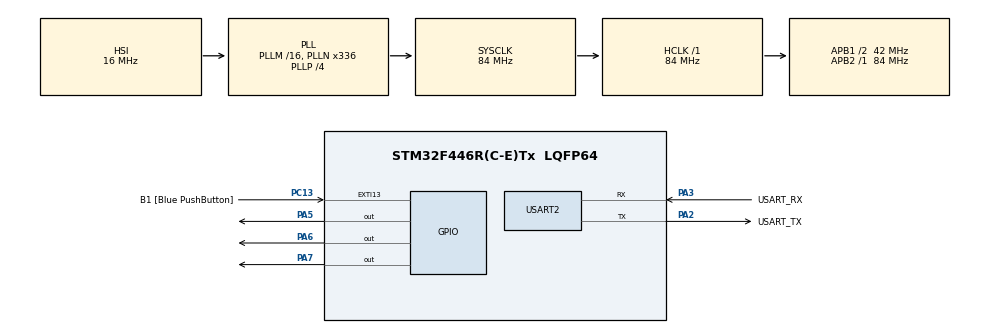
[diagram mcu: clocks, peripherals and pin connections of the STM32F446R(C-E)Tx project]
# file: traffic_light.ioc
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Mcu.Family=STM32F4
Mcu.Name=STM32F446R(C-E)Tx
Mcu.Package=LQFP64
NVIC.EXTI15_10_IRQn=true\:0\:0\:false\:false\:true\:true\:true\:true
NVIC.PriorityGroup=NVIC_PRIORITYGROUP_0
PA13.GPIO_Label=TMS
PA13.Mode=Serial_Wire
PA13.Signal=SYS_JTMS-SWDIO
PA14.GPIO_Label=TCK
PA14.Mode=Serial_Wire
PA14.Signal=SYS_JTCK-SWCLK
PA2.GPIO_Label=USART_TX
PA2.Mode=Asynchronous
PA2.Signal=USART2_TX
PA3.GPIO_Label=USART_RX
PA3.Mode=Asynchronous
PA3.Signal=USART2_RX
PA5.Signal=GPIO_Output
PA6.Signal=GPIO_Output
PA7.Signal=GPIO_Output
PB3.GPIO_Label=SWO
PB3.Signal=SYS_JTDO-SWO
PC13.GPIO_Label=B1 [Blue PushButton]
PC13.GPIO_ModeDefaultEXTI=GPIO_MODE_IT_FALLING
PC13.Signal=GPXTI13
PC14-OSC32_IN.Mode=LSE-External-Oscillator
PC14-OSC32_IN.Signal=RCC_OSC32_IN
PC15-OSC32_OUT.Mode=LSE-External-Oscillator
PC15-OSC32_OUT.Signal=RCC_OSC32_OUT
PH0-OSC_IN.Mode=HSE-External-Oscillator
PH0-OSC_IN.Signal=RCC_OSC_IN
PH1-OSC_OUT.Mode=HSE-External-Oscillator
PH1-OSC_OUT.Signal=RCC_OSC_OUT
ProjectManager.HeapSize=0x200
ProjectManager.StackSize=0x400
ProjectManager.TargetToolchain=STM32CubeIDE
RCC.48MHZClocksFreq_Value=84000000
RCC.AHBFreq_Value=84000000
RCC.APB1CLKDivider=RCC_HCLK_DIV2
RCC.APB1Freq_Value=42000000
RCC.APB1TimFreq_Value=84000000
RCC.APB2Freq_Value=84000000
RCC.APB2TimFreq_Value=84000000
RCC.CortexFreq_Value=84000000
RCC.FLatency-AdvancedSettings=FLASH_LATENCY_2
RCC.HCLKFreq_Value=84000000
RCC.HSE_VALUE=8000000
RCC.HSI_VALUE=16000000
RCC.PLLN=336
RCC.PLLP=RCC_PLLP_DIV4
RCC.SYSCLKFreq_VALUE=84000000
RCC.SYSCLKSource=RCC_SYSCLKSOURCE_PLLCLK
RCC.USBFreq_Value=168000000
RCC.VCOOutputFreq_Value=336000000
USART2.VirtualMode=VM_ASYNC
board=NUCLEO-F446RE

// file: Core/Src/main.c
/* USER CODE BEGIN Header */
/**
  ******************************************************************************
  * @file           : main.c
  * @brief          : Main program body
  ******************************************************************************
  * @attention
  *
  * Copyright (c) 2026 STMicroelectronics.
  * All rights reserved.
  *
  * This software is licensed under terms that can be found in the LICENSE file
  * in the root directory of this software component.
  * If no LICENSE file comes with this software, it is provided AS-IS.
  *
  ******************************************************************************
  */
/* USER CODE END Header */
#include "main.h"
uint8_t state =0;
uint8_t mode = 0;
uint32_t buttonTime =0;

UART_HandleTypeDef huart2;

void SystemClock_Config(void);
static void MX_GPIO_Init(void);
static void MX_USART2_UART_Init(void);

/* USER CODE BEGIN 0 */

void TrafficLight(uint8_t s)
{
    HAL_GPIO_WritePin(GPIOA,
                      GPIO_PIN_5 | GPIO_PIN_6 | GPIO_PIN_7,
                      GPIO_PIN_RESET);

    if(s == 0)
        HAL_GPIO_WritePin(GPIOA, GPIO_PIN_5, GPIO_PIN_SET); // RED

    else if(s == 1)
        HAL_GPIO_WritePin(GPIOA, GPIO_PIN_6, GPIO_PIN_SET); // YELLOW

    else if(s == 2)
        HAL_GPIO_WritePin(GPIOA, GPIO_PIN_7, GPIO_PIN_SET); // GREEN
}

void HAL_GPIO_EXTI_Callback(uint16_t GPIO_Pin)
{
    if(GPIO_Pin == GPIO_PIN_13)
    {
        // AUTO -> MANUAL
        if(mode == 0)
        {
            mode = 1;
        }

        // MANUAL MODE
        else
        {
            state++;

            if(state > 2)
                state = 0;
        }
    }
}

/* USER CODE END 0 */

int main(void)
{

  /* MCU Configuration--------------------------------------------------------*/

  /* Reset of all peripherals, Initializes the Flash interface and the Systick. */
  HAL_Init();

  /* Configure the system clock */
  SystemClock_Config();

  /* Initialize all configured peripherals */
  MX_GPIO_Init();
  MX_USART2_UART_Init();

  /* Infinite loop */
  /* USER CODE BEGIN WHILE */
  while(1)
      {
          TrafficLight(state);

          if(mode == 0)
          {
              for(int i = 0; i < 30; i++)
              {
                  HAL_Delay(100);

                  if(mode == 1)
                      break;
              }

              if(mode == 0)
              {
                  state++;

                  if(state > 2)
                      state = 0;
              }
          }

          else
          {
              HAL_Delay(50);

              // Hold button to go back AUTO
              if(HAL_GPIO_ReadPin(GPIOC, GPIO_PIN_13) == GPIO_PIN_RESET)
              {
                  HAL_Delay(1000);

                  if(HAL_GPIO_ReadPin(GPIOC, GPIO_PIN_13) == GPIO_PIN_RESET)
                  {
                      mode = 0;
                  }
              }
          }
      }
  }

void SystemClock_Config(void)
{
  RCC_OscInitTypeDef RCC_OscInitStruct = {0};
  RCC_ClkInitTypeDef RCC_ClkInitStruct = {0};

  /** Configure the main internal regulator output voltage
  */
  __HAL_RCC_PWR_CLK_ENABLE();
  __HAL_PWR_VOLTAGESCALING_CONFIG(PWR_REGULATOR_VOLTAGE_SCALE3);

  /** Initializes the RCC Oscillators according to the specified parameters
  * in the RCC_OscInitTypeDef structure.
  */
  RCC_OscInitStruct.OscillatorType = RCC_OSCILLATORTYPE_HSI;
  RCC_OscInitStruct.HSIState = RCC_HSI_ON;
  RCC_OscInitStruct.HSICalibrationValue = RCC_HSICALIBRATION_DEFAULT;
  RCC_OscInitStruct.PLL.PLLState = RCC_PLL_ON;
  RCC_OscInitStruct.PLL.PLLSource = RCC_PLLSOURCE_HSI;
  RCC_OscInitStruct.PLL.PLLM = 16;
  RCC_OscInitStruct.PLL.PLLN = 336;
  RCC_OscInitStruct.PLL.PLLP = RCC_PLLP_DIV4;
  RCC_OscInitStruct.PLL.PLLQ = 2;
  RCC_OscInitStruct.PLL.PLLR = 2;
  if (HAL_RCC_OscConfig(&RCC_OscInitStruct) != HAL_OK)
  {
    Error_Handler();
  }

  /** Initializes the CPU, AHB and APB buses clocks
  */
  RCC_ClkInitStruct.ClockType = RCC_CLOCKTYPE_HCLK|RCC_CLOCKTYPE_SYSCLK
                              |RCC_CLOCKTYPE_PCLK1|RCC_CLOCKTYPE_PCLK2;
  RCC_ClkInitStruct.SYSCLKSource = RCC_SYSCLKSOURCE_PLLCLK;
  RCC_ClkInitStruct.AHBCLKDivider = RCC_SYSCLK_DIV1;
  RCC_ClkInitStruct.APB1CLKDivider = RCC_HCLK_DIV2;
  RCC_ClkInitStruct.APB2CLKDivider = RCC_HCLK_DIV1;

  if (HAL_RCC_ClockConfig(&RCC_ClkInitStruct, FLASH_LATENCY_2) != HAL_OK)
  {
    Error_Handler();
  }
}

static void MX_USART2_UART_Init(void)
{

  huart2.Instance = USART2;
  huart2.Init.BaudRate = 115200;
  huart2.Init.WordLength = UART_WORDLENGTH_8B;
  huart2.Init.StopBits = UART_STOPBITS_1;
  huart2.Init.Parity = UART_PARITY_NONE;
  huart2.Init.Mode = UART_MODE_TX_RX;
  huart2.Init.HwFlowCtl = UART_HWCONTROL_NONE;
  huart2.Init.OverSampling = UART_OVERSAMPLING_16;
  if (HAL_UART_Init(&huart2) != HAL_OK)
  {
    Error_Handler();
  }

}

static void MX_GPIO_Init(void)
{
  GPIO_InitTypeDef GPIO_InitStruct = {0};

  /* GPIO Ports Clock Enable */
  __HAL_RCC_GPIOC_CLK_ENABLE();
  __HAL_RCC_GPIOH_CLK_ENABLE();
  __HAL_RCC_GPIOA_CLK_ENABLE();
  __HAL_RCC_GPIOB_CLK_ENABLE();

  /*Configure GPIO pin Output Level */
  HAL_GPIO_WritePin(GPIOA, GPIO_PIN_5|GPIO_PIN_6|GPIO_PIN_7, GPIO_PIN_RESET);

  /*Configure GPIO pin : B1_Pin */
  GPIO_InitStruct.Pin = B1_Pin;
  GPIO_InitStruct.Mode = GPIO_MODE_IT_FALLING;
  GPIO_InitStruct.Pull = GPIO_NOPULL;
  HAL_GPIO_Init(B1_GPIO_Port, &GPIO_InitStruct);

  /*Configure GPIO pins : PA5 PA6 PA7 */
  GPIO_InitStruct.Pin = GPIO_PIN_5|GPIO_PIN_6|GPIO_PIN_7;
  GPIO_InitStruct.Mode = GPIO_MODE_OUTPUT_PP;
  GPIO_InitStruct.Pull = GPIO_NOPULL;
  GPIO_InitStruct.Speed = GPIO_SPEED_FREQ_LOW;
  HAL_GPIO_Init(GPIOA, &GPIO_InitStruct);

  /* EXTI interrupt init*/
  HAL_NVIC_SetPriority(EXTI15_10_IRQn, 0, 0);
  HAL_NVIC_EnableIRQ(EXTI15_10_IRQn);

}

void Error_Handler(void)
{
  __disable_irq();
  while (1)
  {
  }
}
